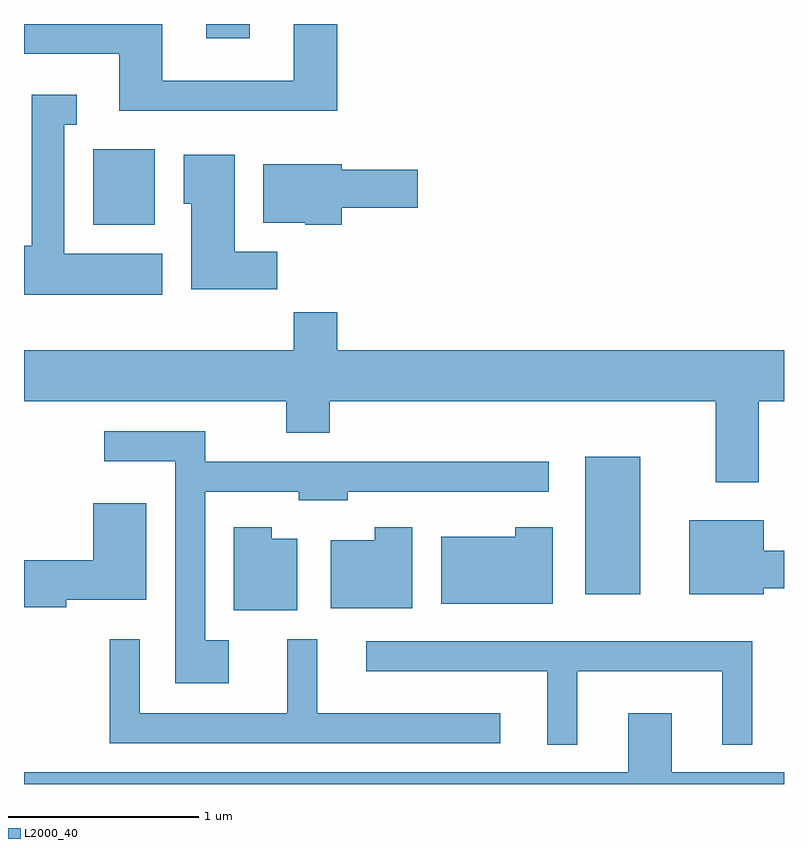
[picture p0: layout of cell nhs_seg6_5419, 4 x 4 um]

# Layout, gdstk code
import gdstk
lib = gdstk.Library(unit=1e-6, precision=1e-09)
def R(c, l, rs):  # rectangles x0, y0, x1, y1
    for r in rs: c.add(gdstk.rectangle(r[:2], r[2:], *l))
def P(c, l, *ps):  # polygons
    for p in ps: c.add(gdstk.Polygon(p, *l))
L2000_40 = (2000, 40)

nhs_seg6_5419 = lib.new_cell('nhs_seg6_5419')
R(nhs_seg6_5419, L2000_40, [(352.566,1631.161,352.854,1631.884), (349.976,1633.106,350.299,1633.504), (350.571,1634.086,350.799,1634.162)])
P(nhs_seg6_5419, L2000_40, [(351.259,1634.162),(351.031,1634.162),(351.031,1633.864),(350.339,1633.864),(350.339,1634.162),(349.611,1634.162),(349.611,1634.006),(350.111,1634.006),(350.111,1633.706),(351.259,1633.706)],
  [(350.339,1632.954),(349.824,1632.954),(349.824,1633.631),(349.888,1633.631),(349.888,1633.789),(349.651,1633.789),(349.651,1632.994),(349.611,1632.994),(349.611,1632.736),(350.339,1632.736)],
  [(350.944,1632.964),(350.719,1632.964),(350.719,1633.474),(350.451,1633.474),(350.451,1633.216),(350.491,1633.216),(350.491,1632.766),(350.944,1632.766)],
  [(351.284,1633.196),(351.684,1633.196),(351.684,1633.394),(351.284,1633.394),(351.284,1633.424),(350.871,1633.424),(350.871,1633.116),(351.09,1633.116),(351.09,1633.106),(351.284,1633.106)],
  [(353.479,1632.176),(353.611,1632.176),(353.611,1632.444),(351.259,1632.444),(351.259,1632.644),(351.031,1632.644),(351.031,1632.444),(349.611,1632.444),(349.611,1632.176),(350.991,1632.176),(350.991,1632.011),(351.219,1632.011),(351.219,1632.176),(353.251,1632.176),(353.251,1631.751),(353.479,1631.751)],
  [(350.689,1630.919),(350.564,1630.919),(350.564,1631.701),(351.056,1631.701),(351.056,1631.656),(351.314,1631.656),(351.314,1631.701),(352.373,1631.701),(352.373,1631.859),(350.564,1631.859),(350.564,1632.019),(350.033,1632.019),(350.033,1631.861),(350.406,1631.861),(350.406,1630.691),(350.689,1630.691)],
  [(349.834,1631.131),(350.254,1631.131),(350.254,1631.639),(349.976,1631.639),(349.976,1631.339),(349.611,1631.339),(349.611,1631.091),(349.834,1631.091)],
  [(353.504,1631.191),(353.611,1631.191),(353.611,1631.389),(353.504,1631.389),(353.504,1631.549),(353.111,1631.549),(353.111,1631.161),(353.504,1631.161)],
  [(352.394,1631.514),(352.196,1631.514),(352.196,1631.464),(351.806,1631.464),(351.806,1631.111),(352.394,1631.111)],
  [(351.654,1631.514),(351.456,1631.514),(351.456,1631.444),(351.226,1631.444),(351.226,1631.086),(351.654,1631.086)],
  [(351.049,1631.454),(350.914,1631.454),(350.914,1631.514),(350.716,1631.514),(350.716,1631.076),(351.049,1631.076)],
  [(352.118,1630.534),(351.154,1630.534),(351.154,1630.923),(350.996,1630.923),(350.996,1630.534),(350.219,1630.534),(350.219,1630.923),(350.061,1630.923),(350.061,1630.376),(352.118,1630.376)],
  [(352.524,1630.756),(353.286,1630.756),(353.286,1630.368),(353.444,1630.368),(353.444,1630.914),(351.413,1630.914),(351.413,1630.756),(352.366,1630.756),(352.366,1630.368),(352.524,1630.368)],
  [(353.611,1630.224),(353.019,1630.224),(353.019,1630.534),(352.791,1630.534),(352.791,1630.224),(349.611,1630.224),(349.611,1630.162),(353.611,1630.162)])

lib.write_gds('nhs_seg6_5419.gds')
